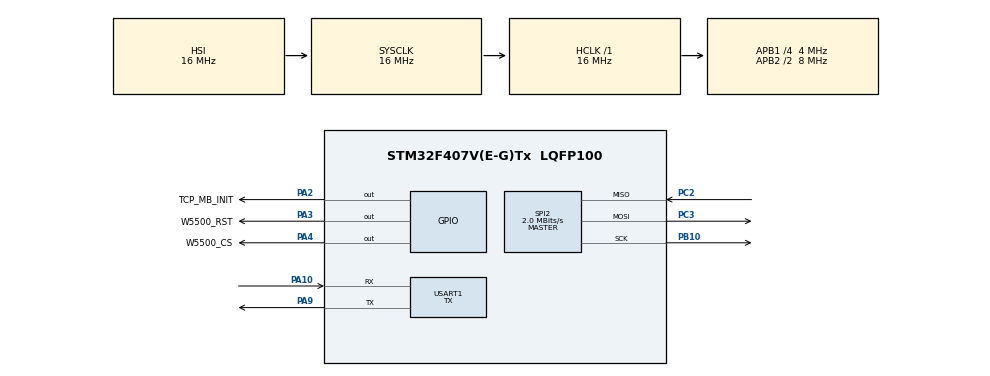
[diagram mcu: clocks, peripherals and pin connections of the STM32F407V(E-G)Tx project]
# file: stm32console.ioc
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Mcu.Family=STM32F4
Mcu.Name=STM32F407V(E-G)Tx
Mcu.Package=LQFP100
NVIC.PriorityGroup=NVIC_PRIORITYGROUP_4
PA10.Mode=Asynchronous
PA10.Signal=USART1_RX
PA2.GPIO_Label=TCP_MB_INIT
PA2.Signal=GPIO_Output
PA3.GPIO_Label=W5500_RST
PA3.Signal=GPIO_Output
PA4.GPIO_Label=W5500_CS
PA4.Signal=GPIO_Output
PA9.Mode=Asynchronous
PA9.Signal=USART1_TX
PB10.Mode=Full_Duplex_Master
PB10.Signal=SPI2_SCK
PC2.Mode=Full_Duplex_Master
PC2.Signal=SPI2_MISO
PC3.Mode=Full_Duplex_Master
PC3.Signal=SPI2_MOSI
ProjectManager.HeapSize=0x400
ProjectManager.StackSize=0x800
ProjectManager.TargetToolchain=STM32CubeIDE
RCC.48MHZClocksFreq_Value=67600000
RCC.AHBFreq_Value=16000000
RCC.APB1CLKDivider=RCC_HCLK_DIV4
RCC.APB1Freq_Value=4000000
RCC.APB1TimFreq_Value=8000000
RCC.APB2CLKDivider=RCC_HCLK_DIV2
RCC.APB2Freq_Value=8000000
RCC.APB2TimFreq_Value=16000000
RCC.CortexFreq_Value=16000000
RCC.HCLKFreq_Value=16000000
RCC.HSE_VALUE=25000000
RCC.HSI_VALUE=16000000
RCC.LSE_VALUE=32768
RCC.PLLM=10
RCC.PLLN=169
RCC.PLLP=RCC_PLLP_DIV8
RCC.SYSCLKFreq_VALUE=16000000
RCC.VCOOutputFreq_Value=270400000
SPI2.CalculateBaudRate=2.0 MBits/s
SPI2.Direction=SPI_DIRECTION_2LINES
SPI2.Mode=SPI_MODE_MASTER
SPI2.VirtualType=VM_MASTER
USART1.Mode=MODE_TX
USART1.VirtualMode=VM_ASYNC
board=custom

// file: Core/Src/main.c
/* USER CODE BEGIN Header */
/**
  ******************************************************************************
  * @file           : main.c
  * @brief          : Main program body
  ******************************************************************************
  * @attention
  *
  * Copyright (c) 2022 STMicroelectronics.
  * All rights reserved.
  *
  * This software is licensed under terms that can be found in the LICENSE file
  * in the root directory of this software component.
  * If no LICENSE file comes with this software, it is provided AS-IS.
  *
  ******************************************************************************
  */
/* USER CODE END Header */
#include "main.h"
#include "spi.h"
#include "usart.h"
#include "gpio.h"

/* USER CODE BEGIN Includes */
#include "stdio.h"
#include <string.h>
#include <stdarg.h>
#include <stdbool.h>
#include <ctype.h>
#include "socket.h"
#include "sntp.h"
#include "w5500/w5500.h"
#include "mb.h"
#include "mbproto.h"
#include "mbutils.h"

/* USER CODE END Includes */

/* USER CODE BEGIN PD */
// ============================================= DHCP MODE ENABLE =============
//#define USER_MODE_DHCP

#ifdef  USER_MODE_DHCP
	#include "dhcp.h"
	#include "dns.h"
#endif
#define DHCP_SOCKET     0
#define DNS_SOCKET      1
#define HTTP_SOCKET     2
#define SNTP_SOCKET     2

#define MBTCP_PORT      		502

#define REG_INPUT_START       	0x0001
#define REG_INPUT_NREGS       	8

#define REG_HOLDING_START     	0x0001
#define REG_HOLDING_NREGS     	30

#define REG_COILS_START       	0x0001
#define REG_COILS_SIZE        	16

#define REG_DISCRETE_START    	0x0001
#define REG_DISCRETE_SIZE     	16

/* USER CODE END PD */

/* USER CODE BEGIN PM */
/* Private function prototypes -----------------------------------------------*/
#ifdef __GNUC__
  /* With GCC, small printf (option LD Linker->Libraries->Small printf
     set to 'Yes') calls __io_putchar() */
  #define PUTCHAR_PROTOTYPE int __io_putchar(int ch)
#else
  #define PUTCHAR_PROTOTYPE int fputc(int ch, FILE *f)
#endif /* __GNUC__ */
/* USER CODE END PM */

/* USER CODE BEGIN PV */

uint8_t dhcp_buffer[1024];
uint8_t dns_buffer[200];
uint8_t ntp_buf[48];
volatile bool ip_assigned = false;

uint8_t ntp_domain_serv[] = "pool.ntp.org";
uint8_t ntp_ip_serv[4] = {162, 159, 200, 1};
datetime ntp_time;
volatile bool time_assigned = false;

//uint16_t usRegInputBuf[REG_INPUT_NREGS] = {0x1000,0x1001,0x1002,0x1003,0x1004,0x1005,0x1006,0x1007};
uint16_t usRegHoldingBuf[REG_HOLDING_NREGS] = {01,11,22,33,44,55,66,77, 88, 99};
//uint8_t ucRegCoilsBuf[REG_COILS_SIZE/8] = {0xaa,0xfe};
//uint8_t ucRegDiscreteBuf[REG_DISCRETE_SIZE/8] = {0x98, 0x6e};

char msg[60];
uint16_t read_data[20];

/* USER CODE END PV */

void SystemClock_Config(void);

/* USER CODE BEGIN 0 */
void reg_ntp_cbfunc(void(*time_assign)(void));

void W5500_Select(void) {
    HAL_GPIO_WritePin(W5500_CS_GPIO_Port, W5500_CS_Pin, GPIO_PIN_RESET);
}

void W5500_Unselect(void) {
    HAL_GPIO_WritePin(W5500_CS_GPIO_Port, W5500_CS_Pin, GPIO_PIN_SET);
}

void W5500_ReadBuff(uint8_t* buff, uint16_t len) {
    HAL_SPI_Receive(&hspi2, buff, len, HAL_MAX_DELAY);
}

void W5500_WriteBuff(uint8_t* buff, uint16_t len) {
    HAL_SPI_Transmit(&hspi2, buff, len, HAL_MAX_DELAY);
}

uint8_t W5500_ReadByte(void) {
    uint8_t byte;
    W5500_ReadBuff(&byte, sizeof(byte));
    return byte;
}

void W5500_WriteByte(uint8_t byte) {
    W5500_WriteBuff(&byte, sizeof(byte));
}

#ifdef USER_MODE_DHCP

void Callback_IPAssigned(void) {
    printf("Callback: IP assigned! Leased time: %ld sec\r\n", getDHCPLeasetime());
    ip_assigned = true;
}

static void Net_Conf(wiz_NetInfo gWIZNETINFO)
{
	/* wizchip netconf */
	ctlnetwork(CN_SET_NETINFO, (void*) &gWIZNETINFO);
}

static void Display_Net_Conf(void)
{

	uint8_t tmpstr[6] = {0,};
	wiz_NetInfo gWIZNETINFO;
	ctlnetwork(CN_GET_NETINFO, (void*) &gWIZNETINFO);

	// Display Network Information
	ctlwizchip(CW_GET_ID,(void*)tmpstr);

	if(gWIZNETINFO.dhcp == NETINFO_DHCP) printf("\r\n===== %s NET CONF : DHCP =====\r\n",(char*)tmpstr);
		else printf("\r\n===== %s NET CONF : Static =====\r\n",(char*)tmpstr);
	printf(" MAC : %02X:%02X:%02X:%02X:%02X:%02X\r\n", gWIZNETINFO.mac[0], gWIZNETINFO.mac[1], gWIZNETINFO.mac[2], gWIZNETINFO.mac[3], gWIZNETINFO.mac[4], gWIZNETINFO.mac[5]);
	printf(" IP : %d.%d.%d.%d\r\n", gWIZNETINFO.ip[0], gWIZNETINFO.ip[1], gWIZNETINFO.ip[2], gWIZNETINFO.ip[3]);
	printf(" GW : %d.%d.%d.%d\r\n", gWIZNETINFO.gw[0], gWIZNETINFO.gw[1], gWIZNETINFO.gw[2], gWIZNETINFO.gw[3]);
	printf(" SN : %d.%d.%d.%d\r\n", gWIZNETINFO.sn[0], gWIZNETINFO.sn[1], gWIZNETINFO.sn[2], gWIZNETINFO.sn[3]);
	printf("=======================================\r\n");
}
#endif

void Callback_IPConflict(void) {
    printf("Callback: IP conflict!\r\n");
}

void Callback_TimeAssigned(void) {
    printf("Callback: Time assigned! \r\n");
    time_assigned = true;
    printf("NTP Time: %d.%d.%d %d:%d:%d \r\n",ntp_time.dd, ntp_time.mm, ntp_time.yy, ntp_time.hh, ntp_time.mm,ntp_time.ss);
}

// Reset W5500 module
void resetW5500(void)
{
  printf("%s >> Resetting Wiz W5500 Ethernet Board...\n", __func__);
//  pinMode(RESET_P, OUTPUT);
//  digitalWrite(RESET_P, HIGH);
  HAL_GPIO_WritePin(W5500_RST_GPIO_Port, W5500_RST_Pin, GPIO_PIN_SET);
  HAL_Delay(250);
  //digitalWrite(RESET_P, LOW);
  HAL_GPIO_WritePin(W5500_RST_GPIO_Port, W5500_RST_Pin, GPIO_PIN_RESET);
  HAL_Delay(50);
  //digitalWrite(RESET_P, HIGH);
  HAL_GPIO_WritePin(W5500_RST_GPIO_Port, W5500_RST_Pin, GPIO_PIN_SET);
  HAL_Delay(350);
  printf("%s >> Done.\n", __func__);
}

void initW5500() {
    printf("\r\ninit() called!\r\n");

    printf("Registering W5500 callbacks...\r\n");
    reg_wizchip_cs_cbfunc(W5500_Select, W5500_Unselect);
    reg_wizchip_spi_cbfunc(W5500_ReadByte, W5500_WriteByte);
    reg_wizchip_spiburst_cbfunc(W5500_ReadBuff, W5500_WriteBuff);

    printf("Calling wizchip_init()...\r\n");
    uint8_t rx_tx_buff_sizes[] = {2, 2, 2, 2, 2, 2, 2, 2};
    wizchip_init(rx_tx_buff_sizes, rx_tx_buff_sizes);

    wiz_NetInfo net_info = {
    	.mac  = { 0xEA, 0x11, 0x22, 0x33, 0x44, 0xAB },
#ifdef USER_MODE_DHCP
		.dhcp = NETINFO_DHCP,
    };
    printf("Calling DHCP_init()...\r\n");
    /* wizchip netconf */
    ctlnetwork(CN_SET_NETINFO, (void*) &net_info);
//    // set MAC address before using DHCP
//    setSHAR(net_info.mac);
    getSHAR(net_info.mac);
    printf("GET MAC: %02X.%02X.%02X.%02X.%02X.%02X\r\n",
    		net_info.mac[0], net_info.mac[1], net_info.mac[2], net_info.mac[3],
            net_info.mac[4], net_info.mac[5]
        );

    DHCP_init(DHCP_SOCKET, dhcp_buffer);

    printf("Registering DHCP callbacks...\r\n");
    reg_dhcp_cbfunc(
        Callback_IPAssigned,
        Callback_IPAssigned,
        Callback_IPConflict
    );

    printf("Calling DHCP_run()...\r\n");
    // actually should be called in a loop, e.g. by timer
    uint32_t ctr = 10000;
    while((!ip_assigned) && (ctr > 0)) {
//    	printf("%s >> Going DHCP_RUN: [%lu]: [%u]\r\n", __func__, ctr, DHCP_run());
        DHCP_run();
        ctr--;
    }

    if(!ip_assigned) {
        printf("\r\nIP was not assigned :(\r\n");
        return;
    }

    getIPfromDHCP(net_info.ip);
    getGWfromDHCP(net_info.gw);
    getSNfromDHCP(net_info.sn);

    uint8_t dns[4];
    getDNSfromDHCP(dns);

    printf("IP:  %d.%d.%d.%d\r\nGW:  %d.%d.%d.%d\r\nNet: %d.%d.%d.%d\r\nDNS: %d.%d.%d.%d\r\n",
        net_info.ip[0], net_info.ip[1], net_info.ip[2], net_info.ip[3],
        net_info.gw[0], net_info.gw[1], net_info.gw[2], net_info.gw[3],
        net_info.sn[0], net_info.sn[1], net_info.sn[2], net_info.sn[3],
        dns[0], dns[1], dns[2], dns[3]
    );

    printf("Calling wizchip_setnetinfo()...\r\n");
	wizchip_setnetinfo(&net_info);

#else
		.dhcp = NETINFO_STATIC,
		.ip	= { 192, 168, 2, 25},
		.sn = { 255, 255, 255, 0},
		.gw	= { 192, 168, 2, 1},
//		.dns = {8, 8, 8, 8},
		.dns = { 192, 168, 2, 1},
	};
	printf("Calling STATIC_init()...\r\n");
    printf("IP:  %d.%d.%d.%d\r\nGW:  %d.%d.%d.%d\r\nNet: %d.%d.%d.%d\r\n",
         net_info.ip[0], net_info.ip[1], net_info.ip[2], net_info.ip[3],
         net_info.gw[0], net_info.gw[1], net_info.gw[2], net_info.gw[3],
         net_info.sn[0], net_info.sn[1], net_info.sn[2], net_info.sn[3]
     );
    printf("Calling wizchip_setnetinfo()...\r\n");
    wizchip_setnetinfo(&net_info);
#endif

}

void getNtpServerTimeStamp(void)
{

    printf("Creating socket...\r\n");
    reg_ntp_cbfunc( Callback_TimeAssigned );

    SNTP_init(SNTP_SOCKET, ntp_ip_serv, 28, ntp_buf);
	uint32_t ctr_t = 100000;
	while ((!time_assigned) && (ctr_t > 0)) {
	  SNTP_run(&ntp_time);
	  ctr_t--;
	}
	if (!time_assigned) {
	  printf("\r\nTime was not assigned :(\r\n");
	  close(SNTP_SOCKET);
	}

//
}

void loop() {
    HAL_Delay(1000);
}

/* USER CODE END 0 */

int main(void)
{
  /* USER CODE BEGIN 1 */
	eMBErrorCode eMBStatus;
	uint8_t u8FirstBoot = 1;
	//uint8_t rcvBuf[20], bufSize[] = {2, 2, 2, 2, 2, 2, 2, 2};
  /* USER CODE END 1 */

  /* MCU Configuration--------------------------------------------------------*/

  /* Reset of all peripherals, Initializes the Flash interface and the Systick. */
  HAL_Init();

  /* Configure the system clock */
  SystemClock_Config();

  /* Initialize all configured peripherals */
  MX_GPIO_Init();
  MX_USART1_UART_Init();
  MX_SPI2_Init();
  /* USER CODE BEGIN 2 */
  	resetW5500();
	initW5500();
	HAL_Delay(200);
	getNtpServerTimeStamp();

	eMBStatus = eMBTCPInit(MBTCP_PORT);
	printf("%s MB TCP Init completed [%s]..\n", __func__, ((eMBStatus == MB_EPORTERR)?"porting layer error":"MB TCP Init Success"));
	HAL_Delay(200);

	eMBStatus = eMBEnable();
	printf("%s MB TCP Init completed [%s]..\n", __func__, ((eMBStatus == MB_EILLSTATE)?"protocol stack in illegal state":"protocol stack Success"));
  /* USER CODE END 2 */

  /* Infinite loop */
  /* USER CODE BEGIN WHILE */

	HAL_Delay(1000);
	printf("\r\nModbus-TCP Start!\r\n");

  while (1)
  {
      modbus_tcps(HTTP_SOCKET, MBTCP_PORT);
      //HAL_Delay(500);
      if(u8FirstBoot == 1)
      {
    	  // Put TCP Init LED on state...
    	  HAL_GPIO_WritePin(TCP_MB_INIT_GPIO_Port, TCP_MB_INIT_Pin, GPIO_PIN_SET);
    	  u8FirstBoot = 0;
      }
    /* USER CODE END WHILE */

  }
}

void SystemClock_Config(void)
{
  RCC_OscInitTypeDef RCC_OscInitStruct = {0};
  RCC_ClkInitTypeDef RCC_ClkInitStruct = {0};

  /** Configure the main internal regulator output voltage
  */
  __HAL_RCC_PWR_CLK_ENABLE();
  __HAL_PWR_VOLTAGESCALING_CONFIG(PWR_REGULATOR_VOLTAGE_SCALE1);

  /** Initializes the RCC Oscillators according to the specified parameters
  * in the RCC_OscInitTypeDef structure.
  */
  RCC_OscInitStruct.OscillatorType = RCC_OSCILLATORTYPE_HSI;
  RCC_OscInitStruct.HSIState = RCC_HSI_ON;
  RCC_OscInitStruct.HSICalibrationValue = RCC_HSICALIBRATION_DEFAULT;
  RCC_OscInitStruct.PLL.PLLState = RCC_PLL_NONE;
  if (HAL_RCC_OscConfig(&RCC_OscInitStruct) != HAL_OK)
  {
    Error_Handler();
  }

  /** Initializes the CPU, AHB and APB buses clocks
  */
  RCC_ClkInitStruct.ClockType = RCC_CLOCKTYPE_HCLK|RCC_CLOCKTYPE_SYSCLK
                              |RCC_CLOCKTYPE_PCLK1|RCC_CLOCKTYPE_PCLK2;
  RCC_ClkInitStruct.SYSCLKSource = RCC_SYSCLKSOURCE_HSI;
  RCC_ClkInitStruct.AHBCLKDivider = RCC_SYSCLK_DIV1;
  RCC_ClkInitStruct.APB1CLKDivider = RCC_HCLK_DIV4;
  RCC_ClkInitStruct.APB2CLKDivider = RCC_HCLK_DIV2;

  if (HAL_RCC_ClockConfig(&RCC_ClkInitStruct, FLASH_LATENCY_0) != HAL_OK)
  {
    Error_Handler();
  }
}

/* USER CODE BEGIN 4 */

eMBErrorCode
eMBRegHoldingCB(UCHAR *pucRegBuffer, USHORT usAddress, USHORT usNRegs,
                eMBRegisterMode eMode)
{
  eMBErrorCode eStatus = MB_ENOERR;
  int iRegIndex;

  if ((usAddress >= REG_HOLDING_START) &&
      (usAddress + usNRegs <= REG_HOLDING_START + REG_HOLDING_NREGS))
  {
    iRegIndex = (int)(usAddress - REG_HOLDING_START);
    switch (eMode)
    {
    /* Pass current register values to the protocol stack. */
    case MB_REG_READ:
      while (usNRegs > 0)
      {
        *pucRegBuffer++ =
            (unsigned char)(usRegHoldingBuf[iRegIndex] >> 8);
        *pucRegBuffer++ =
            (unsigned char)(usRegHoldingBuf[iRegIndex] & 0xFF);
        iRegIndex++;
        usNRegs--;
      }
      break;
    /* Update current register values with new values from the protocol stack. */
    case MB_REG_WRITE:
      while (usNRegs > 0)
      {
        usRegHoldingBuf[iRegIndex] = *pucRegBuffer++ << 8;
        usRegHoldingBuf[iRegIndex] |= *pucRegBuffer++;
        iRegIndex++;
        usNRegs--;
      }
    }
  }
  else
  {
    eStatus = MB_ENOREG;
  }
  return eStatus;
}

//eMBErrorCode
//eMBRegInputCB(UCHAR *pucRegBuffer, USHORT usAddress, USHORT usNRegs)
//{
//  eMBErrorCode eStatus = MB_ENOERR;
//  int iRegIndex;
//
//  if ((usAddress >= REG_INPUT_START) && (usAddress + usNRegs <= REG_INPUT_START + REG_INPUT_NREGS))
//  {
//    iRegIndex = (int)(usAddress - REG_INPUT_START);
//    while (usNRegs > 0)
//    {
//      *pucRegBuffer++ =
//          (unsigned char)(usRegInputBuf[iRegIndex] >> 8);
//      *pucRegBuffer++ =
//          (unsigned char)(usRegInputBuf[iRegIndex] & 0xFF);
//      iRegIndex++;
//      usNRegs--;
//    }
//  }
//  else
//  {
//    eStatus = MB_ENOREG;
//  }
//
//  return eStatus;
//}
//
//eMBErrorCode
//eMBRegCoilsCB(UCHAR *pucRegBuffer, USHORT usAddress, USHORT usNCoils,
//              eMBRegisterMode eMode)
//{
//  eMBErrorCode eStatus = MB_ENOERR;
//  int iNCoils = (int)usNCoils;
//  unsigned short usBitOffset;
//
//  /* Check if we have registers mapped at this block. */
//  if ((usAddress >= REG_COILS_START) &&
//      (usAddress + usNCoils <= REG_COILS_START + REG_COILS_SIZE))
//  {
//    usBitOffset = (unsigned short)(usAddress - REG_COILS_START);
//    switch (eMode)
//    {
//    /* Read current values and pass to protocol stack. */
//    case MB_REG_READ:
//      while (iNCoils > 0)
//      {
//        *pucRegBuffer++ =
//            xMBUtilGetBits(ucRegCoilsBuf, usBitOffset,
//                           (unsigned char)(iNCoils >
//                                                   8
//                                               ? 8
//                                               : iNCoils));
//        iNCoils -= 8;
//        usBitOffset += 8;
//      }
//      break;
//      /* Update current register values. */
//    case MB_REG_WRITE:
//      while (iNCoils > 0)
//      {
//        xMBUtilSetBits(ucRegCoilsBuf, usBitOffset,
//                       (unsigned char)(iNCoils > 8 ? 8 : iNCoils),
//                       *pucRegBuffer++);
//        iNCoils -= 8;
//        usBitOffset += 8;
//      }
//      break;
//    }
//  }
//  else
//  {
//    eStatus = MB_ENOREG;
//  }
//  return eStatus;
//}
//
//eMBErrorCode
//eMBRegDiscreteCB(UCHAR *pucRegBuffer, USHORT usAddress, USHORT usNDiscrete)
//{
//  eMBErrorCode eStatus = MB_ENOERR;
//  short iNDiscrete = (short)usNDiscrete;
//  unsigned short usBitOffset;
//
//  /* Check if we have registers mapped at this block. */
//  if ((usAddress >= REG_DISCRETE_START) &&
//      (usAddress + usNDiscrete <= REG_DISCRETE_START + REG_DISCRETE_SIZE))
//  {
//    usBitOffset = (unsigned short)(usAddress - REG_DISCRETE_START);
//    while (iNDiscrete > 0)
//    {
//      *pucRegBuffer++ =
//          xMBUtilGetBits( ucRegDiscreteBuf, usBitOffset,
//                                    ( unsigned char )( iNDiscrete >
//                                                       8 ? 8 : iNDiscrete ) );
//      iNDiscrete -= 8;
//      usBitOffset += 8;
//    }
//  }
//  else
//  {
//    eStatus = MB_ENOREG;
//  }
//  return eStatus;
//}

/**
  * @brief  Retargets the C library printf function to the USART.
  * @param  None
  * @retval None
  */
PUTCHAR_PROTOTYPE
{
  /* Place your implementation of fputc here */
  /* e.g. write a character to the EVAL_COM1 and Loop until the end of transmission */
  HAL_UART_Transmit(&huart1, (uint8_t *)&ch, 1, 0xFFFF);

  return ch;
}

/* USER CODE END 4 */

void Error_Handler(void)
{
  __disable_irq();
  while (1)
  {
  }
}
